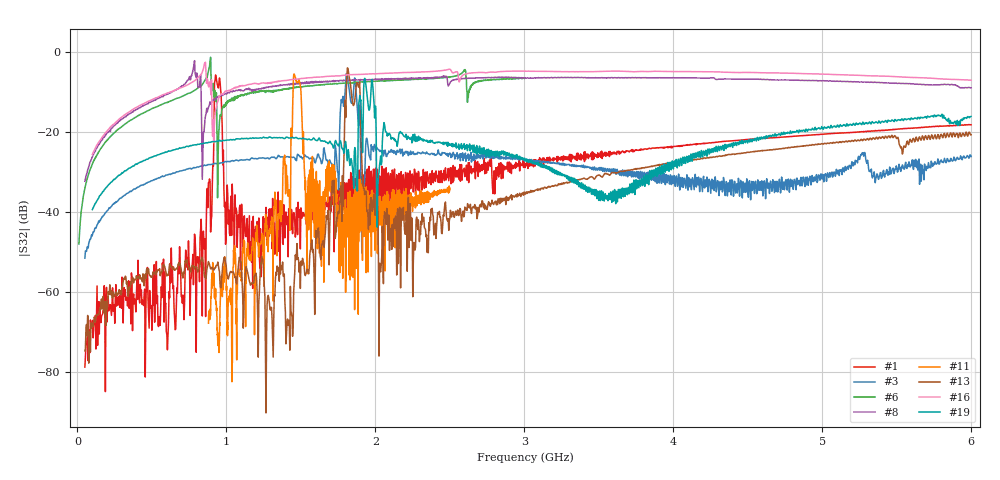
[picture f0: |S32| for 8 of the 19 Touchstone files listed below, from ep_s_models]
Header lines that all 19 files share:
! port | pin | signal
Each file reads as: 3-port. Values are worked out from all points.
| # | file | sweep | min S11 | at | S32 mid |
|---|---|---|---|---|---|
| 1 | B4304_WB.s3p | 50 MHz to 6 GHz | -29.7 dB | 923.9 MHz | -29.0 dB at 3.025 GHz |
| 2 | B4305_WB.s3p | 50 MHz to 6 GHz | -18.9 dB | 1.999 GHz | -24.4 dB at 3.025 GHz |
| 3 | B4306_WB.s3p | 50 MHz to 6 GHz | -19.8 dB | 1.798 GHz | -26.9 dB at 3.025 GHz |
| 4 | B4308_WB.s3p | 50 MHz to 2.4 GHz | -26.2 dB | 1.58 GHz | -10.4 dB at 1.225 GHz |
| 5 | B4313_WB.s3p | 100 MHz to 4 GHz | -27.1 dB | 1.614 GHz | -37.1 dB at 2.05 GHz |
| 6 | B4317_WB.s3p | 10 MHz to 3 GHz | -19.3 dB | 901.4 MHz | -8.6 dB at 1.505 GHz |
| 7 | B4318_WB.s3p | 50 MHz to 6 GHz | -28.6 dB | 752.8 MHz | -6.1 dB at 3.025 GHz |
| 8 | B4321_WB_UN.s3p | 50 MHz to 6 GHz | -25.6 dB | 804.9 MHz | -6.4 dB at 3.025 GHz |
| 9 | B4323_WB.s3p | 50 MHz to 6 GHz | -31.9 dB | 923.9 MHz | -26.0 dB at 3.025 GHz |
| 10 | B4324_WB.s3p | 50 MHz to 6 GHz | -23.3 dB | 886.7 MHz | -26.3 dB at 3.025 GHz |
| 11 | B4326_WB.s3p | 880 MHz to 2.5 GHz | -35.0 dB | 1.483 GHz | -31.8 dB at 1.69 GHz |
| 12 | B4328_WB.s3p | 50 MHz to 6 GHz | -31.7 dB | 1.831 GHz | -11.4 dB at 3.025 GHz |
| 13 | B4328_WB_UN.s3p | 50 MHz to 6 GHz | -25.4 dB | 1.831 GHz | -35.1 dB at 3.025 GHz |
| 14 | B4329_WB_UN.s3p | 50 MHz to 6 GHz | -19.9 dB | 2.612 GHz | -37.4 dB at 3.025 GHz |
| 15 | B4333_WB.s3p | 50 MHz to 6 GHz | -17.6 dB | 734.2 MHz | -6.1 dB at 3.025 GHz |
| 16 | B4380_LB_WB.s3p | 100 MHz to 6 GHz | -16.4 dB | 889.1 MHz | -4.7 dB at 3.05 GHz |
| 17 | B4380_UB_WB.s3p | 100 MHz to 6 GHz | -23.0 dB | 937.1 MHz | -19.3 dB at 3.05 GHz |
| 18 | B4381_LB_WB.s3p | 100 MHz to 6 GHz | -20.3 dB | 1.8 GHz | -31.5 dB at 3.05 GHz |
| 19 | B4381_UB_WB.s3p | 100 MHz to 6 GHz | -15.5 dB | 1.922 GHz | -27.5 dB at 3.05 GHz |
